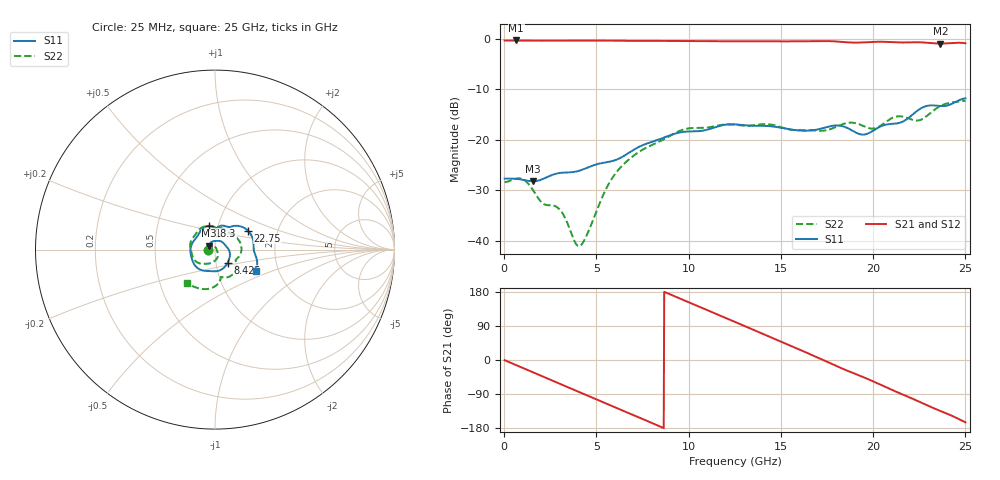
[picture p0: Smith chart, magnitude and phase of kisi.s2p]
! RG_ts6_sw_gnd: Finite board 24 × 16 mm, ThunderScope stack, via F → In3 (stub to B) through In1 GND / In2 GND / In4 GND, four GND vias at 1 mm joined to In1 and In4 and In2
! stackup: ThunderScope Rev5.3 6-layer with the In2 plane
! ports: 1 F, 2 In3
! kisi-fdtd, conformal, dfine 0.035 mm (the cell at metal ÷ 2), 1347456 cells
# Hz S RI R 50
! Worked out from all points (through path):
!   1000 points, 25 MHz to 25 GHz, reference 50 ohm
!   highest |S21| = -0.36 dB at 650 MHz (marker M1); lowest = -1.0 dB at 23.65 GHz (marker M2)
!   group delay of S21, straight-line fit = 58.1 ps
!   lowest |S11| = -28.2 dB at 1.575 GHz (marker M3), VSWR 1.08, Z = 46.8 + j2.06 ohm
!   |S11| at or under -10 dB: start of sweep to end of sweep
!   |S22| runs from -41.0 to -12.3 dB; largest |S21 - S12| = 0.0055
!   S11 on the Smith chart (normalised r, x): 25 MHz: 0.92, +0.00; 8.425 GHz: 1.14, -0.17; 18.3 GHz: 0.90, +0.24; 22.75 GHz: 1.41, +0.31; 25 GHz: 1.52, -0.40
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2.5e7  -0.0413 0.000422  0.9589 -0.00867  0.9559 -0.00842  -0.0381 9.99e-05
6.5e8  -0.0396 0.011  0.933 -0.2246  0.9347 -0.2222  -0.0407 0.00715
1.575e9  -0.0321 0.022  0.8032 -0.5175  0.8017 -0.5197  -0.0247 0.0197
3e9  -0.017 0.0437  0.4477 -0.8484  0.4493 -0.8497  -0.0104 0.0177
3.875e9  0.00376 0.0483  0.1587 -0.943  0.1572 -0.9422  0.00732 0.00601
4.2e9  0.0115 0.049  0.048 -0.9548  0.048 -0.9532  0.00922 -0.000648
6.025e9  0.0586 0.023  -0.5488 -0.777  -0.549 -0.7759  0.0135 -0.0442
7.3e9  0.0827 -0.0195  -0.8359 -0.4553  -0.8367 -0.4558  -0.0182 -0.0735
8.35e9  0.0722 -0.0693  -0.9436 -0.109  -0.9428 -0.1089  -0.0524 -0.079
8.425e9  0.0706 -0.0726  -0.9459 -0.0832  -0.9451 -0.0833  -0.0548 -0.0791
1.03e10  -0.0119 -0.1206  -0.7834 0.5243  -0.7827 0.5242  -0.1253 -0.0381
1.1475e10  -0.0642 -0.1173  -0.4975 0.7993  -0.4979 0.7998  -0.1367 0.00733
1.2525e10  -0.1167 -0.0811  -0.1668 0.9252  -0.1667 0.9246  -0.1274 0.0595
1.44e10  -0.1361 0.0087  0.4564 0.8224  0.4565 0.8218  -0.063 0.1272
1.565e10  -0.1123 0.0562  0.771 0.5405  0.7716 0.5409  0.00434 0.1249
1.6675e10  -0.0936 0.0811  0.9208 0.2179  0.92 0.2176  0.0537 0.1119
1.83e10  -0.0334 0.1326  0.8604 -0.3501  0.86 -0.351  0.1304 0.0552
1.9475e10  0.00538 0.1123  0.6459 -0.6527  0.647 -0.6523  0.1298 -0.0433
2.085e10  0.0547 0.1318  0.234 -0.8955  0.2333 -0.8941  0.1184 -0.1038
2.275e10  0.1828 0.1061  -0.4014 -0.8236  -0.4023 -0.8211  0.0314 -0.1606
2.365e10  0.2152 0.0138  -0.626 -0.6384  -0.6245 -0.6415  -0.0222 -0.2149
2.5e10  0.2261 -0.1218  -0.8678 -0.2428  -0.8634 -0.2396  -0.1563 -0.1863
